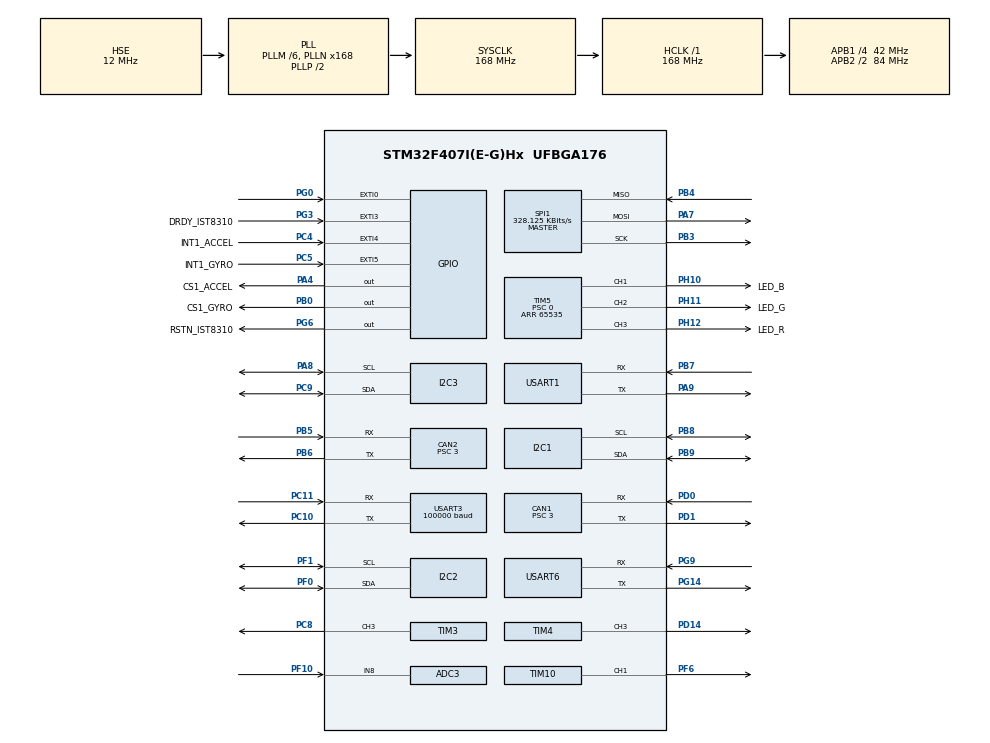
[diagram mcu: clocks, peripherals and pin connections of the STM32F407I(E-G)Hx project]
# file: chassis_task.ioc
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ADC1.Channel-0\#ChannelRegularConversion=ADC_CHANNEL_TEMPSENSOR
ADC1.NbrOfConversion=1
ADC1.NbrOfConversionFlag=1
ADC1.Rank-0\#ChannelRegularConversion=1
ADC1.SamplingTime-0\#ChannelRegularConversion=ADC_SAMPLETIME_3CYCLES
ADC1.master=1
ADC3.Channel-0\#ChannelRegularConversion=ADC_CHANNEL_8
ADC3.NbrOfConversionFlag=1
ADC3.Rank-0\#ChannelRegularConversion=1
ADC3.SamplingTime-0\#ChannelRegularConversion=ADC_SAMPLETIME_3CYCLES
CAN1.BS1=CAN_BS1_10TQ
CAN1.BS2=CAN_BS2_3TQ
CAN1.CalculateBaudRate=1000000
CAN1.CalculateTimeQuantum=71.42857142857143
CAN1.Prescaler=3
CAN2.BS1=CAN_BS1_10TQ
CAN2.BS2=CAN_BS2_3TQ
CAN2.CalculateBaudRate=1000000
CAN2.CalculateTimeQuantum=71.42857142857143
CAN2.Prescaler=3
Dma.Request0=SPI1_RX
Dma.Request1=SPI1_TX
Dma.Request2=USART3_RX
Dma.Request3=USART6_RX
Dma.Request4=USART6_TX
Dma.Request5=USART1_TX
Dma.SPI1_RX.0.Direction=DMA_PERIPH_TO_MEMORY
Dma.SPI1_RX.0.FIFOMode=DMA_FIFOMODE_DISABLE
Dma.SPI1_RX.0.Instance=DMA2_Stream2
Dma.SPI1_RX.0.MemDataAlignment=DMA_MDATAALIGN_BYTE
Dma.SPI1_RX.0.MemInc=DMA_MINC_ENABLE
Dma.SPI1_RX.0.Mode=DMA_NORMAL
Dma.SPI1_RX.0.PeriphDataAlignment=DMA_PDATAALIGN_BYTE
Dma.SPI1_RX.0.PeriphInc=DMA_PINC_DISABLE
Dma.SPI1_RX.0.Priority=DMA_PRIORITY_VERY_HIGH
Dma.SPI1_TX.1.Direction=DMA_MEMORY_TO_PERIPH
Dma.SPI1_TX.1.FIFOMode=DMA_FIFOMODE_DISABLE
Dma.SPI1_TX.1.Instance=DMA2_Stream3
Dma.SPI1_TX.1.MemDataAlignment=DMA_MDATAALIGN_BYTE
Dma.SPI1_TX.1.MemInc=DMA_MINC_ENABLE
Dma.SPI1_TX.1.Mode=DMA_NORMAL
Dma.SPI1_TX.1.PeriphDataAlignment=DMA_PDATAALIGN_BYTE
Dma.SPI1_TX.1.PeriphInc=DMA_PINC_DISABLE
Dma.SPI1_TX.1.Priority=DMA_PRIORITY_HIGH
Dma.USART1_TX.5.Direction=DMA_MEMORY_TO_PERIPH
Dma.USART1_TX.5.FIFOMode=DMA_FIFOMODE_DISABLE
Dma.USART1_TX.5.Instance=DMA2_Stream7
Dma.USART1_TX.5.MemDataAlignment=DMA_MDATAALIGN_BYTE
Dma.USART1_TX.5.MemInc=DMA_MINC_ENABLE
Dma.USART1_TX.5.Mode=DMA_NORMAL
Dma.USART1_TX.5.PeriphDataAlignment=DMA_PDATAALIGN_BYTE
Dma.USART1_TX.5.PeriphInc=DMA_PINC_DISABLE
Dma.USART1_TX.5.Priority=DMA_PRIORITY_MEDIUM
Dma.USART3_RX.2.Direction=DMA_PERIPH_TO_MEMORY
Dma.USART3_RX.2.FIFOMode=DMA_FIFOMODE_DISABLE
Dma.USART3_RX.2.Instance=DMA1_Stream1
Dma.USART3_RX.2.MemDataAlignment=DMA_MDATAALIGN_BYTE
Dma.USART3_RX.2.MemInc=DMA_MINC_ENABLE
Dma.USART3_RX.2.Mode=DMA_NORMAL
Dma.USART3_RX.2.PeriphDataAlignment=DMA_PDATAALIGN_BYTE
Dma.USART3_RX.2.PeriphInc=DMA_PINC_DISABLE
Dma.USART3_RX.2.Priority=DMA_PRIORITY_HIGH
Dma.USART6_RX.3.Direction=DMA_PERIPH_TO_MEMORY
Dma.USART6_RX.3.FIFOMode=DMA_FIFOMODE_DISABLE
Dma.USART6_RX.3.Instance=DMA2_Stream1
Dma.USART6_RX.3.MemDataAlignment=DMA_MDATAALIGN_BYTE
Dma.USART6_RX.3.MemInc=DMA_MINC_ENABLE
Dma.USART6_RX.3.Mode=DMA_NORMAL
Dma.USART6_RX.3.PeriphDataAlignment=DMA_PDATAALIGN_BYTE
Dma.USART6_RX.3.PeriphInc=DMA_PINC_DISABLE
Dma.USART6_RX.3.Priority=DMA_PRIORITY_HIGH
Dma.USART6_TX.4.Direction=DMA_MEMORY_TO_PERIPH
Dma.USART6_TX.4.FIFOMode=DMA_FIFOMODE_DISABLE
Dma.USART6_TX.4.Instance=DMA2_Stream6
Dma.USART6_TX.4.MemDataAlignment=DMA_MDATAALIGN_BYTE
Dma.USART6_TX.4.MemInc=DMA_MINC_ENABLE
Dma.USART6_TX.4.Mode=DMA_NORMAL
Dma.USART6_TX.4.PeriphDataAlignment=DMA_PDATAALIGN_BYTE
Dma.USART6_TX.4.PeriphInc=DMA_PINC_DISABLE
Dma.USART6_TX.4.Priority=DMA_PRIORITY_MEDIUM
FREERTOS.INCLUDE_eTaskGetState=1
FREERTOS.INCLUDE_pcTaskGetTaskName=1
FREERTOS.INCLUDE_uxTaskGetStackHighWaterMark=1
FREERTOS.INCLUDE_vTaskCleanUpResources=1
FREERTOS.INCLUDE_vTaskDelayUntil=1
FREERTOS.INCLUDE_xEventGroupSetBitFromISR=1
FREERTOS.INCLUDE_xQueueGetMutexHolder=1
FREERTOS.INCLUDE_xSemaphoreGetMutexHolder=1
FREERTOS.INCLUDE_xTaskAbortDelay=1
FREERTOS.INCLUDE_xTaskGetCurrentTaskHandle=1
FREERTOS.INCLUDE_xTaskGetHandle=1
FREERTOS.INCLUDE_xTimerPendFunctionCall=1
FREERTOS.Tasks01=test,0,128,test_task,As weak,NULL,Dynamic,NULL,NULL
FREERTOS.configTOTAL_HEAP_SIZE=24576
I2C1.I2C_Mode=I2C_Fast
I2C2.I2C_Mode=I2C_Fast
I2C3.I2C_Mode=I2C_Fast
Mcu.Family=STM32F4
Mcu.Name=STM32F407I(E-G)Hx
Mcu.Package=UFBGA176
NVIC.CAN1_RX0_IRQn=true\:6\:0\:true\:false\:true\:true\:true\:true\:true
NVIC.CAN2_RX0_IRQn=true\:6\:0\:true\:false\:true\:true\:true\:true\:true
NVIC.DMA1_Stream1_IRQn=true\:5\:0\:true\:false\:false\:true\:false\:false\:true
NVIC.DMA2_Stream1_IRQn=true\:5\:0\:false\:false\:true\:true\:false\:true\:true
NVIC.DMA2_Stream2_IRQn=true\:5\:0\:true\:false\:false\:true\:false\:true\:true
NVIC.DMA2_Stream3_IRQn=true\:5\:0\:true\:false\:false\:true\:false\:true\:true
NVIC.DMA2_Stream6_IRQn=true\:5\:0\:false\:false\:true\:true\:false\:true\:true
NVIC.DMA2_Stream7_IRQn=true\:5\:0\:false\:false\:true\:true\:false\:true\:true
NVIC.EXTI0_IRQn=true\:6\:0\:true\:false\:true\:true\:true\:true\:true
NVIC.EXTI3_IRQn=true\:5\:0\:true\:false\:true\:true\:true\:true\:true
NVIC.EXTI4_IRQn=true\:5\:0\:true\:false\:true\:true\:true\:true\:true
NVIC.EXTI9_5_IRQn=true\:5\:0\:true\:false\:true\:true\:true\:true\:true
NVIC.PriorityGroup=NVIC_PRIORITYGROUP_4
NVIC.USART1_IRQn=true\:5\:0\:false\:false\:true\:true\:true\:true\:true
NVIC.USART3_IRQn=true\:4\:0\:true\:false\:false\:false\:true\:true\:true
NVIC.USART6_IRQn=true\:5\:0\:false\:false\:true\:true\:true\:true\:true
PA13.Mode=Serial_Wire
PA13.Signal=SYS_JTMS-SWDIO
PA14.Mode=Serial_Wire
PA14.Signal=SYS_JTCK-SWCLK
PA4.GPIO_Label=CS1_ACCEL
PA4.GPIO_PuPd=GPIO_PULLUP
PA4.GPIO_Speed=GPIO_SPEED_FREQ_HIGH
PA4.PinState=GPIO_PIN_SET
PA4.Signal=GPIO_Output
PA7.GPIO_PuPd=GPIO_PULLUP
PA7.Mode=Full_Duplex_Master
PA7.Signal=SPI1_MOSI
PA8.GPIO_Pu=GPIO_PULLUP
PA8.Mode=I2C
PA8.Signal=I2C3_SCL
PA9.Mode=Asynchronous
PA9.Signal=USART1_TX
PB0.GPIO_Label=CS1_GYRO
PB0.GPIO_PuPd=GPIO_PULLUP
PB0.GPIO_Speed=GPIO_SPEED_FREQ_HIGH
PB0.PinState=GPIO_PIN_SET
PB0.Signal=GPIO_Output
PB3.GPIO_PuPd=GPIO_PULLUP
PB3.Mode=Full_Duplex_Master
PB3.Signal=SPI1_SCK
PB4.GPIO_PuPd=GPIO_PULLUP
PB4.Mode=Full_Duplex_Master
PB4.Signal=SPI1_MISO
PB5.Mode=CAN_Activate
PB5.Signal=CAN2_RX
PB6.Mode=CAN_Activate
PB6.Signal=CAN2_TX
PB7.Mode=Asynchronous
PB7.Signal=USART1_RX
PB8.Mode=I2C
PB8.Signal=I2C1_SCL
PB9.Mode=I2C
PB9.Signal=I2C1_SDA
PC10.Mode=Asynchronous
PC10.Signal=USART3_TX
PC11.Mode=Asynchronous
PC11.Signal=USART3_RX
PC4.GPIO_Label=INT1_ACCEL
PC4.GPIO_ModeDefaultEXTI=GPIO_MODE_IT_FALLING
PC4.GPIO_PuPd=GPIO_PULLUP
PC4.Signal=GPXTI4
PC5.GPIO_Label=INT1_GYRO
PC5.GPIO_ModeDefaultEXTI=GPIO_MODE_IT_FALLING
PC5.GPIO_PuPd=GPIO_PULLUP
PC5.Signal=GPXTI5
PC8.GPIO_PuPd=GPIO_PULLUP
PC8.GPIO_Speed=GPIO_SPEED_FREQ_HIGH
PC8.Signal=S_TIM3_CH3
PC9.GPIO_Pu=GPIO_PULLUP
PC9.Mode=I2C
PC9.Signal=I2C3_SDA
PD0.Mode=CAN_Activate
PD0.Signal=CAN1_RX
PD1.Mode=CAN_Activate
PD1.Signal=CAN1_TX
PD14.GPIO_PuPd=GPIO_PULLUP
PD14.GPIO_Speed=GPIO_SPEED_FREQ_HIGH
PD14.Signal=S_TIM4_CH3
PF0.GPIO_Pu=GPIO_PULLUP
PF0.Mode=I2C
PF0.Signal=I2C2_SDA
PF1.GPIO_Pu=GPIO_PULLUP
PF1.Mode=I2C
PF1.Signal=I2C2_SCL
PF10.Mode=IN8
PF10.Signal=ADC3_IN8
PF6.GPIO_PuPd=GPIO_PULLUP
PF6.GPIO_Speed=GPIO_SPEED_FREQ_HIGH
PF6.Signal=S_TIM10_CH1
PG0.GPIO_ModeDefaultEXTI=GPIO_MODE_IT_FALLING
PG0.GPIO_PuPd=GPIO_PULLUP
PG0.Signal=GPXTI0
PG14.Mode=Asynchronous
PG14.Signal=USART6_TX
PG3.GPIO_Label=DRDY_IST8310
PG3.GPIO_ModeDefaultEXTI=GPIO_MODE_IT_FALLING
PG3.GPIO_PuPd=GPIO_PULLUP
PG3.Signal=GPXTI3
PG6.GPIO_Label=RSTN_IST8310
PG6.GPIO_PuPd=GPIO_PULLUP
PG6.GPIO_Speed=GPIO_SPEED_FREQ_MEDIUM
PG6.PinState=GPIO_PIN_SET
PG6.Signal=GPIO_Output
PG9.Mode=Asynchronous
PG9.Signal=USART6_RX
PH0-OSC_IN.Mode=HSE-External-Oscillator
PH0-OSC_IN.Signal=RCC_OSC_IN
PH1-OSC_OUT.Mode=HSE-External-Oscillator
PH1-OSC_OUT.Signal=RCC_OSC_OUT
PH10.GPIO_Label=LED_B
PH10.GPIO_PuPd=GPIO_PULLUP
PH10.GPIO_Speed=GPIO_SPEED_FREQ_HIGH
PH10.Signal=S_TIM5_CH1
PH11.GPIO_Label=LED_G
PH11.GPIO_PuPd=GPIO_PULLUP
PH11.GPIO_Speed=GPIO_SPEED_FREQ_HIGH
PH11.Signal=S_TIM5_CH2
PH12.GPIO_Label=LED_R
PH12.GPIO_PuPd=GPIO_PULLUP
PH12.GPIO_Speed=GPIO_SPEED_FREQ_HIGH
PH12.Signal=S_TIM5_CH3
ProjectManager.HeapSize=0x2000
ProjectManager.StackSize=0x2000
ProjectManager.TargetToolchain=MDK-ARM V5
RCC.48MHZClocksFreq_Value=48000000
RCC.AHBFreq_Value=168000000
RCC.APB1CLKDivider=RCC_HCLK_DIV4
RCC.APB1Freq_Value=42000000
RCC.APB1TimFreq_Value=84000000
RCC.APB2CLKDivider=RCC_HCLK_DIV2
RCC.APB2Freq_Value=84000000
RCC.APB2TimFreq_Value=168000000
RCC.CortexFreq_Value=168000000
RCC.HCLKFreq_Value=168000000
RCC.HSE_VALUE=12000000
RCC.HSI_VALUE=16000000
RCC.LSE_VALUE=32768
RCC.PLLM=6
RCC.PLLN=168
RCC.PLLQ=7
RCC.PLLSourceVirtual=RCC_PLLSOURCE_HSE
RCC.RCC_RTC_Clock_SourceVirtual=RCC_RTCCLKSOURCE_HSE_DIV30
RCC.RCC_RTC_Clock_Source_FROM_HSE=RCC_RTCCLKSOURCE_HSE_DIV30
RCC.SYSCLKFreq_VALUE=168000000
RCC.SYSCLKSource=RCC_SYSCLKSOURCE_PLLCLK
RCC.VCOOutputFreq_Value=336000000
RTC.AsynchPrediv=124
RTC.SynchPrediv=3199
SH.S_TIM10_CH1.0=TIM10_CH1,PWM Generation1 CH1
SH.S_TIM3_CH3.0=TIM3_CH3,PWM Generation3 CH3
SH.S_TIM4_CH3.0=TIM4_CH3,PWM Generation3 CH3
SH.S_TIM5_CH1.0=TIM5_CH1,PWM Generation1 CH1
SH.S_TIM5_CH2.0=TIM5_CH2,PWM Generation2 CH2
SH.S_TIM5_CH3.0=TIM5_CH3,PWM Generation3 CH3
SPI1.BaudRatePrescaler=SPI_BAUDRATEPRESCALER_256
SPI1.CLKPhase=SPI_PHASE_2EDGE
SPI1.CLKPolarity=SPI_POLARITY_HIGH
SPI1.CalculateBaudRate=328.125 KBits/s
SPI1.Direction=SPI_DIRECTION_2LINES
SPI1.Mode=SPI_MODE_MASTER
SPI1.VirtualType=VM_MASTER
TIM10.Channel=TIM_CHANNEL_1
TIM10.Period=4999
TIM3.Channel-PWM\ Generation3\ CH3=TIM_CHANNEL_3
TIM3.Period=8399
TIM4.Channel-PWM\ Generation3\ CH3=TIM_CHANNEL_3
TIM4.Period=65535
TIM4.Prescaler=167
TIM5.Channel-PWM\ Generation1\ CH1=TIM_CHANNEL_1
TIM5.Channel-PWM\ Generation2\ CH2=TIM_CHANNEL_2
TIM5.Channel-PWM\ Generation3\ CH3=TIM_CHANNEL_3
TIM5.Period=65535
TIM5.Prescaler=0
TIM8.Period=19999
TIM8.Prescaler=167
USART1.VirtualMode=VM_ASYNC
USART3.BaudRate=100000
USART3.Parity=PARITY_EVEN
USART3.VirtualMode=VM_ASYNC
USART6.VirtualMode=VM_ASYNC
VP_ADC1_TempSens_Input.Mode=IN-TempSens
VP_ADC1_Vref_Input.Mode=IN-Vrefint
VP_FREERTOS_VS_CMSIS_V1.Mode=CMSIS_V1
VP_RTC_VS_RTC_Activate.Mode=RTC_Enabled
VP_TIM10_VS_ClockSourceINT.Mode=Enable_Timer
VP_TIM1_VS_ClockSourceINT.Mode=Internal
VP_TIM3_VS_ClockSourceINT.Mode=Internal
VP_TIM4_VS_ClockSourceINT.Mode=Internal
VP_TIM5_VS_ClockSourceINT.Mode=Internal
VP_TIM8_VS_ClockSourceINT.Mode=Internal
board=custom

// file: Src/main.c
/* USER CODE BEGIN Header */
/**
  ******************************************************************************
  * @file           : main.c
  * @brief          : Main program body
  ******************************************************************************
  * @attention
  *
  * <h2><center>&copy; Copyright (c) 2019 STMicroelectronics.
  * All rights reserved.</center></h2>
  *
  * This software component is licensed by ST under Ultimate Liberty license
  * SLA0044, the "License"; You may not use this file except in compliance with
  * the License. You may obtain a copy of the License at:
  *                             www.st.com/SLA0044
  *
  ******************************************************************************
  */
/* USER CODE END Header */
#include "main.h"
#include "cmsis_os.h"
#include "adc.h"
#include "can.h"
#include "dma.h"
#include "i2c.h"
#include "rtc.h"
#include "spi.h"
#include "tim.h"
#include "usart.h"
#include "gpio.h"

/* USER CODE BEGIN Includes */
#include "bsp_can.h"
#include "bsp_delay.h"
#include "remote_control.h"

#include "calibrate_task.h"
#include "chassis_task.h"
#include "detect_task.h"
#include "INS_task.h"
#include "led_flow_task.h"

/* USER CODE END Includes */

void SystemClock_Config(void);
void MX_FREERTOS_Init(void);

int main(void)
{

  /* MCU Configuration--------------------------------------------------------*/

  /* Reset of all peripherals, Initializes the Flash interface and the Systick. */
  HAL_Init();

  /* Configure the system clock */
  SystemClock_Config();

  /* Initialize all configured peripherals */
  MX_GPIO_Init();
  MX_DMA_Init();
  MX_CAN1_Init();
  MX_CAN2_Init();
  MX_SPI1_Init();
  MX_TIM4_Init();
  MX_TIM5_Init();
  MX_USART3_UART_Init();
  MX_TIM8_Init();
  MX_I2C3_Init();
  MX_RTC_Init();
  MX_TIM3_Init();
  MX_TIM10_Init();
  MX_USART1_UART_Init();
  MX_USART6_UART_Init();
  MX_ADC1_Init();
  MX_ADC3_Init();
  MX_I2C2_Init();
  MX_I2C1_Init();
  MX_TIM1_Init();
  /* USER CODE BEGIN 2 */
	can_filter_init();
	delay_init();
	cali_param_init();
	remote_control_init();
  /* USER CODE END 2 */

  /* Call init function for freertos objects (in cmsis_os2.c) */
  MX_FREERTOS_Init();

  /* Start scheduler */
  osKernelStart();

  /* We should never get here as control is now taken by the scheduler */

  /* Infinite loop */
  while (1)
  {

  }
}

void SystemClock_Config(void)
{
  RCC_OscInitTypeDef RCC_OscInitStruct = {0};
  RCC_ClkInitTypeDef RCC_ClkInitStruct = {0};

  /** Configure the main internal regulator output voltage
  */
  __HAL_RCC_PWR_CLK_ENABLE();
  __HAL_PWR_VOLTAGESCALING_CONFIG(PWR_REGULATOR_VOLTAGE_SCALE1);

  /** Initializes the RCC Oscillators according to the specified parameters
  * in the RCC_OscInitTypeDef structure.
  */
  RCC_OscInitStruct.OscillatorType = RCC_OSCILLATORTYPE_HSE;
  RCC_OscInitStruct.HSEState = RCC_HSE_ON;
  RCC_OscInitStruct.PLL.PLLState = RCC_PLL_ON;
  RCC_OscInitStruct.PLL.PLLSource = RCC_PLLSOURCE_HSE;
  RCC_OscInitStruct.PLL.PLLM = 6;
  RCC_OscInitStruct.PLL.PLLN = 168;
  RCC_OscInitStruct.PLL.PLLP = RCC_PLLP_DIV2;
  RCC_OscInitStruct.PLL.PLLQ = 7;
  if (HAL_RCC_OscConfig(&RCC_OscInitStruct) != HAL_OK)
  {
    Error_Handler();
  }

  /** Initializes the CPU, AHB and APB buses clocks
  */
  RCC_ClkInitStruct.ClockType = RCC_CLOCKTYPE_HCLK|RCC_CLOCKTYPE_SYSCLK
                              |RCC_CLOCKTYPE_PCLK1|RCC_CLOCKTYPE_PCLK2;
  RCC_ClkInitStruct.SYSCLKSource = RCC_SYSCLKSOURCE_PLLCLK;
  RCC_ClkInitStruct.AHBCLKDivider = RCC_SYSCLK_DIV1;
  RCC_ClkInitStruct.APB1CLKDivider = RCC_HCLK_DIV4;
  RCC_ClkInitStruct.APB2CLKDivider = RCC_HCLK_DIV2;

  if (HAL_RCC_ClockConfig(&RCC_ClkInitStruct, FLASH_LATENCY_5) != HAL_OK)
  {
    Error_Handler();
  }
}

void Error_Handler(void)
{
}

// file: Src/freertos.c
/* USER CODE BEGIN Header */
/**
 ******************************************************************************
 * File Name          : freertos.c
 * Description        : Code for freertos applications
 ******************************************************************************
 * @attention
 *
 * <h2><center>&copy; Copyright (c) 2019 STMicroelectronics.
 * All rights reserved.</center></h2>
 *
 * This software component is licensed by ST under Ultimate Liberty license
 * SLA0044, the "License"; You may not use this file except in compliance with
 * the License. You may obtain a copy of the License at:
 *                             www.st.com/SLA0044
 *
 ******************************************************************************
 */
/* USER CODE END Header */

#include "FreeRTOS.h"
#include "task.h"
#include "main.h"
#include "cmsis_os.h"

/* USER CODE BEGIN Includes */

#include "calibrate_task.h"
#include "chassis_task.h"
#include "detect_task.h"
#include "INS_task.h"
#include "led_flow_task.h"
#include "gimbal_task.h"
#include "referee_usart_task.h"
#include "Can_task.h"
#include "voltage_task.h"
#include "oled_task.h"
#include "set_power_task.h"
#include "uart_receive.h"
#include "motor_cmd.h"
#include "iwdg_task.h"
/* USER CODE END Includes */

/* USER CODE BEGIN PTD */

osThreadId calibrate_tast_handle;
osThreadId chassisTaskHandle;
osThreadId detect_handle;
osThreadId imuTaskHandle;
osThreadId led_RGB_flow_handle;
osThreadId gimbalTaskHandle;
osThreadId referee_usart_task_handle;
osThreadId can_task_handle;
osThreadId battery_voltage_handle;
osThreadId oled_handle;
osThreadId setpower_handle;
osThreadId uart_receive_handle;
osThreadId motor_cmd_handle;
osThreadId iwdg_task_handle;
/* USER CODE END PTD */

osThreadId testHandle;

void test_task(void const *argument);

void MX_FREERTOS_Init(void); /* (MISRA C 2004 rule 8.1) */

/* GetIdleTaskMemory prototype (linked to static allocation support) */
void vApplicationGetIdleTaskMemory(StaticTask_t **ppxIdleTaskTCBBuffer, StackType_t **ppxIdleTaskStackBuffer, uint32_t *pulIdleTaskStackSize);

/* GetTimerTaskMemory prototype (linked to static allocation support) */
void vApplicationGetTimerTaskMemory(StaticTask_t **ppxTimerTaskTCBBuffer, StackType_t **ppxTimerTaskStackBuffer, uint32_t *pulTimerTaskStackSize);

/* USER CODE BEGIN GET_IDLE_TASK_MEMORY */
static StaticTask_t xIdleTaskTCBBuffer;
static StackType_t xIdleStack[configMINIMAL_STACK_SIZE];

void vApplicationGetIdleTaskMemory(StaticTask_t **ppxIdleTaskTCBBuffer, StackType_t **ppxIdleTaskStackBuffer, uint32_t *pulIdleTaskStackSize)
{
  *ppxIdleTaskTCBBuffer = &xIdleTaskTCBBuffer;
  *ppxIdleTaskStackBuffer = &xIdleStack[0];
  *pulIdleTaskStackSize = configMINIMAL_STACK_SIZE;
  /* place for user code */
}
/* USER CODE END GET_IDLE_TASK_MEMORY */

/* USER CODE BEGIN GET_TIMER_TASK_MEMORY */
static StaticTask_t xTimerTaskTCBBuffer;
static StackType_t xTimerStack[configTIMER_TASK_STACK_DEPTH];

void vApplicationGetTimerTaskMemory(StaticTask_t **ppxTimerTaskTCBBuffer, StackType_t **ppxTimerTaskStackBuffer, uint32_t *pulTimerTaskStackSize)
{
  *ppxTimerTaskTCBBuffer = &xTimerTaskTCBBuffer;
  *ppxTimerTaskStackBuffer = &xTimerStack[0];
  *pulTimerTaskStackSize = configTIMER_TASK_STACK_DEPTH;
  /* place for user code */
}
/* USER CODE END GET_TIMER_TASK_MEMORY */

void MX_FREERTOS_Init(void)
{

  /* Create the thread(s) */
  /* definition and creation of test */
  osThreadDef(test, test_task, osPriorityNormal, 0, 128);
  testHandle = osThreadCreate(osThread(test), NULL);

  /* USER CODE BEGIN RTOS_THREADS */
  /* add threads, ... */
  // osThreadDef(cali, calibrate_task, osPriorityNormal, 0, 512);
  // calibrate_tast_handle = osThreadCreate(osThread(cali), NULL);

  osThreadDef(ChassisTask, chassis_task, osPriorityAboveNormal, 0, 512);
  chassisTaskHandle = osThreadCreate(osThread(ChassisTask), NULL);

  osThreadDef(gimbalTask, gimbal_task, osPriorityHigh, 0, 512);
  gimbalTaskHandle = osThreadCreate(osThread(gimbalTask), NULL);

  // osThreadDef(DETECT, detect_task, osPriorityNormal, 0, 256);
  // detect_handle = osThreadCreate(osThread(DETECT), NULL);

  osThreadDef(imuTask, INS_task, osPriorityRealtime, 0, 1024);
  imuTaskHandle = osThreadCreate(osThread(imuTask), NULL);

  osThreadDef(led, led_RGB_flow_task, osPriorityNormal, 0, 256);
  led_RGB_flow_handle = osThreadCreate(osThread(led), NULL);

  osThreadDef(REFEREE, referee_usart_task, osPriorityNormal, 0, 128);
  referee_usart_task_handle = osThreadCreate(osThread(REFEREE), NULL);

  // osThreadDef(CAN_TASK, Can_task, osPriorityNormal, 0, 128);
  // can_task_handle = osThreadCreate(osThread(CAN_TASK), NULL);

  osThreadDef(BATTERY_VOLTAGE, battery_voltage_task, osPriorityNormal, 0, 128);
  battery_voltage_handle = osThreadCreate(osThread(BATTERY_VOLTAGE), NULL);

  osThreadDef(OLED, oled_task, osPriorityNormal, 0, 256);
  oled_handle = osThreadCreate(osThread(OLED), NULL);

  // osThreadDef(SETPOWER,send_setpower_task,osPriorityNormal,0,128);
  // setpower_handle = osThreadCreate(osThread(SETPOWER), NULL);

  osThreadDef(UART_RECEIVE, uart_start_task, osPriorityNormal, 0, 128);
  setpower_handle = osThreadCreate(osThread(UART_RECEIVE), NULL);

  osThreadDef(MOTOR_CMD, motor_cmd_task, osPriorityAboveNormal, 0, 256);
  motor_cmd_handle = osThreadCreate(osThread(MOTOR_CMD), NULL);

  osThreadDef(IWDG_TASK, iwdg_task, osPriorityAboveNormal, 0, 128);
  iwdg_task_handle = osThreadCreate(osThread(IWDG_TASK), NULL);

  /* USER CODE END RTOS_THREADS */
}

__weak void test_task(void const *argument)
{
  for (;;)
  {
    osDelay(1);
  }
}
